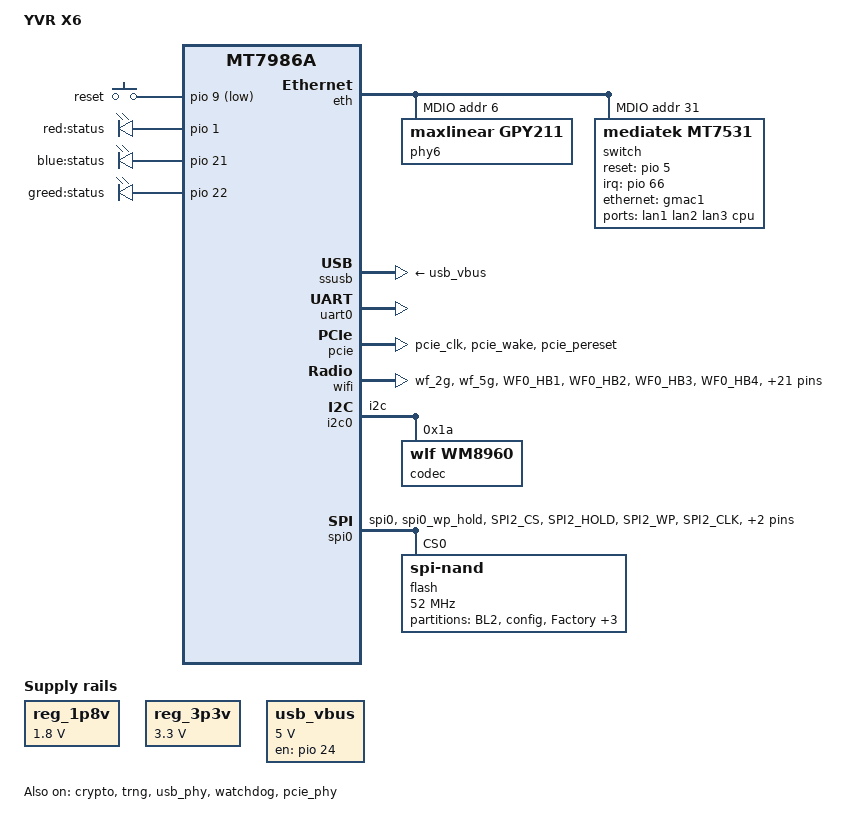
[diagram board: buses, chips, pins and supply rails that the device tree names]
// SPDX-License-Identifier: GPL-2.0-or-later OR MIT

/dts-v1/;
#include <dt-bindings/gpio/gpio.h>
#include <dt-bindings/input/input.h>
#include <dt-bindings/pinctrl/mt65xx.h>

#include "mt7986a.dtsi"

/ {
	model = "YVR X6";
	compatible = "yvr,x6", "mediatek,mt7986a";

	aliases {
		serial0 = &uart0;
		label-mac-device = &gmac0;
		led-boot = "&status_red";
		led-failsafe = "&status_red";
		led-running = "&status_blue";
		led-upgrade = "&status_greed";
	};

	chosen {
		stdout-path = "serial0:115200n8";
		bootargs = "console=ttyS0,115200n1 loglevel=8  
					earlycon=uart8250,mmio32,0x11002000";
	};

	keys {
		compatible = "gpio-keys";

		reset {
			label = "reset";
			linux,code = <KEY_RESTART>;
			gpios = <&pio 9 GPIO_ACTIVE_LOW>;
		};
	};

	leds {
		compatible = "gpio-leds";

		status_red: status_red {
			label = "red:status";
			gpios = <&pio 1 GPIO_ACTIVE_HIGH>;
		};

		status_blue: status_blue {
			label = "blue:status";
			gpios = <&pio 21 GPIO_ACTIVE_HIGH>;
		};

		status_greed: status_greed {
			label = "greed:status";
			gpios = <&pio 22 GPIO_ACTIVE_HIGH>;
		};
	};

	reg_1p8v: regulator-1p8v {
		compatible = "regulator-fixed";
		regulator-name = "1.8vd";
		regulator-min-microvolt = <1800000>;
		regulator-max-microvolt = <1800000>;
		regulator-boot-on;
		regulator-always-on;
	};

	reg_3p3v: regulator-3p3v {
		compatible = "regulator-fixed";
		regulator-name = "fixed-3.3V";
		regulator-min-microvolt = <3300000>;
		regulator-max-microvolt = <3300000>;
		regulator-boot-on;
		regulator-always-on;
	};

	usb_vbus: regulator-usb-vbus {
		compatible = "regulator-fixed";
		regulator-name = "usb_vbus";
		regulator-min-microvolt = <5000000>;
		regulator-max-microvolt = <5000000>;
		gpios = <&pio 24 GPIO_ACTIVE_HIGH>;
		enable-active-high;
		regulator-boot-on;
	};
};

&eth {
	status = "okay";

	gmac0: mac@0 {
		compatible = "mediatek,eth-mac";
		reg = <0>;
		phy-handle = <&phy6>;
		phy-mode = "2500base-x";
	};

	gmac1: mac@1 {
		/* LAN */
		compatible = "mediatek,eth-mac";
		reg = <1>;
		phy-mode = "2500base-x";

		fixed-link {
			speed = <2500>;
			full-duplex;
			pause;
		};
	};

	mdio: mdio-bus {
		#address-cells = <1>;
		#size-cells = <0>;
		reset-gpios = <&pio 6 GPIO_ACTIVE_LOW>;
		reset-delay-us = <1500000>;
		reset-post-delay-us = <1000000>;

		phy6: phy@6 {
			compatible = "maxlinear,gpy211", "ethernet-phy-ieee802.3-c45";
			reg = <6>;
		};

		switch: switch@1f {
			compatible = "mediatek,mt7531";
			reg = <31>;
			reset-gpios = <&pio 5 GPIO_ACTIVE_HIGH>;
			interrupt-controller;
			#interrupt-cells = <1>;
			interrupt-parent = <&pio>;
			interrupts = <66 IRQ_TYPE_LEVEL_HIGH>;

			ports {
				#address-cells = <1>;
				#size-cells = <0>;

				port@0 {
					reg = <0>;
					label = "lan1";
				};

				port@1 {
					reg = <1>;
					label = "lan2";
				};

				port@2 {
					reg = <2>;
					label = "lan3";
				};

				port@6 {
					reg = <6>;
					label = "cpu";
					ethernet = <&gmac1>;
					phy-mode = "2500base-x";

					fixed-link {
						speed = <2500>;
						full-duplex;
						pause;
					};
				};
			};
		};
		
	};
};


&pio {

	spi_flash_pins: spi-flash-pins-33-to-38 {
		mux {
			function = "spi";
			groups = "spi0", "spi0_wp_hold";
		};
		conf-pu {
			pins = "SPI2_CS", "SPI2_HOLD", "SPI2_WP";
			drive-strength = <8>;
			mediatek,pull-up-adv = <0>; /* bias-disable */
		};
		conf-pd {
			pins = "SPI2_CLK", "SPI2_MOSI", "SPI2_MISO";
			drive-strength = <8>;
			mediatek,pull-down-adv = <0>; /* bias-disable */
		};
	};

	wf_dbdc_pins: wf-dbdc-pins {
		mux {
			function = "wifi";
			groups = "wf_dbdc";
		};
		conf {
			pins = "WF0_HB1", "WF0_HB2", "WF0_HB3", "WF0_HB4",
			       "WF0_HB0", "WF0_HB0_B", "WF0_HB5", "WF0_HB6",
			       "WF0_HB7", "WF0_HB8", "WF0_HB9", "WF0_HB10",
			       "WF0_TOP_CLK", "WF0_TOP_DATA", "WF1_HB1",
			       "WF1_HB2", "WF1_HB3", "WF1_HB4", "WF1_HB0",
			       "WF1_HB5", "WF1_HB6", "WF1_HB7", "WF1_HB8",
			       "WF1_TOP_CLK", "WF1_TOP_DATA";
			drive-strength = <4>;
		};
	};

	wf_2g_5g_pins: wf-2g-5g-pins {
		mux {
			function = "wifi";
			groups = "wf_2g", "wf_5g";
		};
		conf {
			pins = "WF0_HB1", "WF0_HB2", "WF0_HB3", "WF0_HB4",
			       "WF0_HB0", "WF0_HB0_B", "WF0_HB5", "WF0_HB6",
			       "WF0_HB7", "WF0_HB8", "WF0_HB9", "WF0_HB10",
			       "WF0_TOP_CLK", "WF0_TOP_DATA", "WF1_HB1",
			       "WF1_HB2", "WF1_HB3", "WF1_HB4", "WF1_HB0",
			       "WF1_HB5", "WF1_HB6", "WF1_HB7", "WF1_HB8",
			       "WF1_TOP_CLK", "WF1_TOP_DATA";
			drive-strength = <4>;
		};
	};

	i2c_pins: i2c-pins {
		mux {
			function = "i2c";
			groups = "i2c";
		};
	};

	pcie_pins: pcie-pins {
		mux {
			function = "pcie";
			groups = "pcie_clk", "pcie_wake", "pcie_pereset";
		};
	};
};

&crypto {
	status = "okay";
};

&ssusb {
	vusb33-supply = <&reg_3p3v>;
	vbus-supply = <&usb_vbus>;
	status = "okay";
};

&trng {
	status = "okay";
};

&uart0 {
	status = "okay";
};

&usb_phy {
	status = "okay";
};

&watchdog {
	status = "okay";
};

&pcie {
	pinctrl-names = "default";
	pinctrl-0 = <&pcie_pins>;
	status = "okay";

	slot0: pcie@0,0 {
		reg = <0x0000 0 0 0 0>;
	};
};

&pcie_phy {
	status = "okay";
};

&wifi {
	status = "okay";
	pinctrl-names = "default", "dbdc";
	pinctrl-0 = <&wf_2g_5g_pins>;
	pinctrl-1 = <&wf_dbdc_pins>;


	nvmem-cells = <&eeprom_factory_0>;
	nvmem-cell-names = "eeprom";
};

&i2c0 {
	pinctrl-names = "default";
	pinctrl-0 = <&i2c_pins>;
	status = "okay";
	codec: wm8960@1a {
		#sound-dai-cells = <0>;
		compatible = "wlf,wm8960";
		reg = <0x1a>;
		wlf,shared-lrclk;
	};
};

&spi0 {
	pinctrl-names = "default";
	pinctrl-0 = <&spi_flash_pins>;
	status = "okay";

	flash@0 {
		compatible = "spi-nand";
		reg = <0>;
		#address-cells = <1>;
		#size-cells = <1>;
		spi-max-frequency = <52000000>;
		spi-rx-bus-width = <4>;
		spi-tx-bus-width = <4>;
		mediatek,nmbm;
		mediatek,bmt-max-ratio = <1>;
		mediatek,bmt-max-reserved-blocks = <64>;

		partitions {
			compatible = "fixed-partitions";
			#address-cells = <1>;
			#size-cells = <1>;

			partition@0 {
				label = "BL2";
				reg = <0x00 0x100000>;
				read-only;
			};

			partition@100000 {
				label = "config";
				reg = <0x100000 0x80000>;
				read-only;
			};

			partition@180000 {
				label = "Factory";
				reg = <0x180000 0x100000>;
				read-only;

				nvmem: nvmem-layout {
					compatible = "fixed-layout";
					#address-cells = <1>;
					#size-cells = <1>;

					eeprom_factory_0: eeprom@0 {
						reg = <0x0 0x1000>;
					};
				};
			};

			partition@280000 {
				label = "Factory_info";
				reg = <0x280000 0x100000>;
				read-only;

			};

			partition@380000 {
				label = "FIP";
				reg = <0x380000 0x200000>;
				read-only;
			};

			partition@580000 {
				label = "ubi";
				reg = <0x580000 0x7200000>;
			};
		};
	};
};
